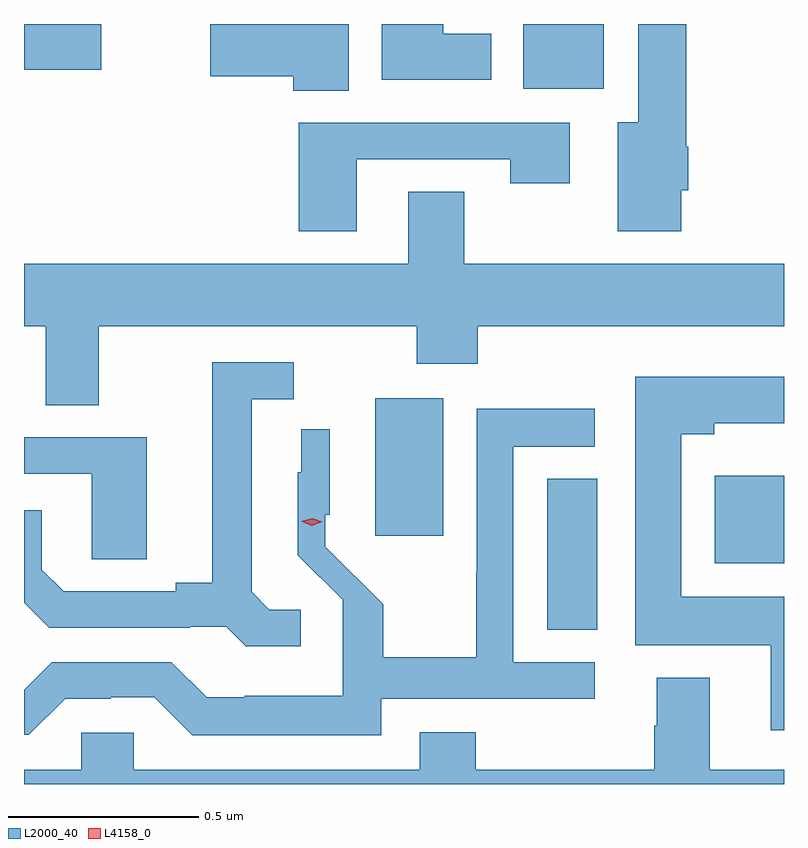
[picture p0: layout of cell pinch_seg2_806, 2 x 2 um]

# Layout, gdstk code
import gdstk
lib = gdstk.Library(unit=1e-6, precision=1e-09)
def R(c, l, rs):  # rectangles x0, y0, x1, y1
    for r in rs: c.add(gdstk.rectangle(r[:2], r[2:], *l))
def P(c, l, *ps):  # polygons
    for p in ps: c.add(gdstk.Polygon(p, *l))
L2000_40 = (2000, 40)
L4158_0 = (4158, 0)

pinch_seg2_806 = lib.new_cell('pinch_seg2_806')
R(pinch_seg2_806, L2000_40, [(663.077,661.489,663.208,661.886), (663.518,661.664,663.7,661.894), (662.624,661.736,662.803,662.098), (663.014,662.912,663.226,663.083), (661.7,662.963,661.903,663.083)])
P(pinch_seg2_806, L2000_40, [(662.929,663.058),(662.803,663.058),(662.803,663.083),(662.642,663.083),(662.642,662.936),(662.929,662.936)],
  [(663.43,662.646),(663.448,662.646),(663.448,662.76),(663.443,662.76),(663.443,663.083),(663.317,663.083),(663.317,662.824),(663.263,662.824),(663.263,662.538),(663.43,662.538)],
  [(662.554,663.083),(662.19,663.083),(662.19,662.945),(662.408,662.945),(662.408,662.908),(662.554,662.908)],
  [(662.575,662.727),(662.98,662.727),(662.98,662.664),(663.136,662.664),(663.136,662.823),(662.423,662.823),(662.423,662.538),(662.575,662.538)],
  [(661.897,662.288),(662.734,662.288),(662.734,662.189),(662.894,662.189),(662.894,662.288),(663.7,662.288),(663.7,662.452),(662.859,662.452),(662.859,662.642),(662.711,662.642),(662.711,662.452),(661.7,662.452),(661.7,662.288),(661.757,662.288),(661.757,662.08),(661.897,662.08)],
  [(662.428,661.542),(662.346,661.542),(662.299,661.589),(662.299,662.095),(662.41,662.095),(662.41,662.193),(662.195,662.193),(662.195,661.613),(662.099,661.613),(662.099,661.59),(661.804,661.59),(661.747,661.647),(661.747,661.804),(661.7,661.804),(661.7,661.56),(661.766,661.494),(662.138,661.494),(662.138,661.497),(662.232,661.497),(662.284,661.445),(662.428,661.445)],
  [(663.7,661.576),(663.43,661.576),(663.43,662.003),(663.517,662.003),(663.517,662.033),(663.7,662.033),(663.7,662.155),(663.308,662.155),(663.308,661.448),(663.665,661.448),(663.665,661.224),(663.7,661.224)],
  [(662.64,661.308),(663.202,661.308),(663.202,661.404),(662.988,661.404),(662.988,661.971),(663.202,661.971),(663.202,662.07),(662.892,662.07),(662.892,661.64),(662.89,661.64),(662.89,661.417),(662.645,661.417),(662.645,661.556),(662.493,661.708),(662.493,661.791),(662.505,661.791),(662.505,662.017),(662.43,662.017),(662.43,661.904),(662.421,661.904),(662.421,661.685),(662.539,661.568),(662.539,661.315),(662.281,661.315),(662.281,661.311),(662.181,661.311),(662.088,661.404),(661.773,661.404),(661.7,661.331),(661.7,661.212),(661.713,661.212),(661.809,661.308),(661.928,661.308),(661.928,661.311),(662.043,661.311),(662.143,661.211),(662.64,661.211)],
  [(662.023,661.995),(661.7,661.995),(661.7,661.899),(661.878,661.899),(661.878,661.675),(662.023,661.675)],
  [(663.7,661.12),(663.505,661.12),(663.505,661.363),(663.365,661.363),(663.365,661.236),(663.358,661.236),(663.358,661.12),(662.889,661.12),(662.889,661.219),(662.741,661.219),(662.741,661.12),(661.989,661.12),(661.989,661.218),(661.851,661.218),(661.851,661.12),(661.7,661.12),(661.7,661.083),(663.7,661.083)])
P(pinch_seg2_806, L4158_0, [(662.457,661.763),(662.43,661.774),(662.43,661.774),(662.43,661.774),(662.458,661.783),(662.485,661.773),(662.486,661.773),(662.485,661.773)])

lib.write_gds('pinch_seg2_806.gds')
